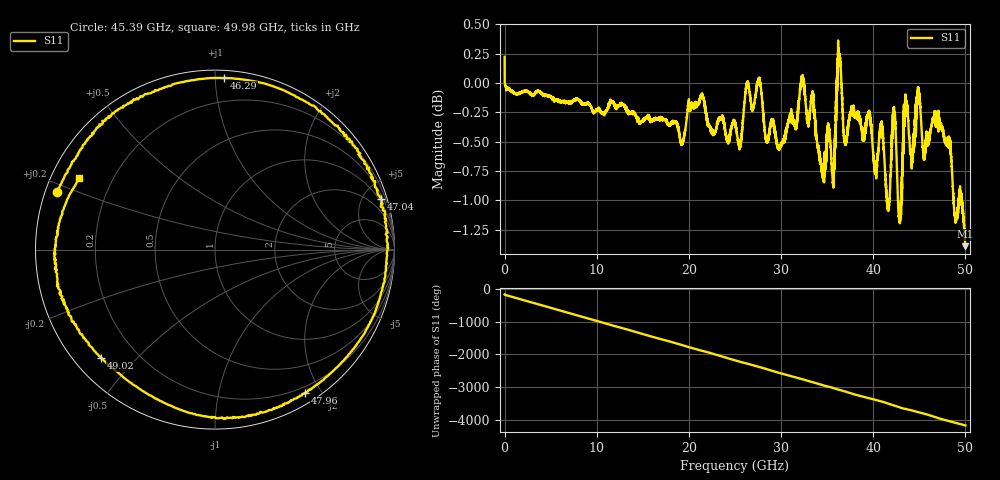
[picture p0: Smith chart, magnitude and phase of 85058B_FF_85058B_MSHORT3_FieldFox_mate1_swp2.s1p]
!Created with skrf (http://scikit-rf.org).
# Hz S RI R 50.0
!freq ReS11 ImS11
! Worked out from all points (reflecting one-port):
!   10001 points, 300 kHz to 50 GHz, reference 50 ohm
!   lowest |S11| = -1.4 dB at 50 GHz (marker M1), VSWR 12.52, Z = 4.26 + j12.8 ohm
!   phase of S11 starts at -175 deg and turns -3995 deg over the sweep
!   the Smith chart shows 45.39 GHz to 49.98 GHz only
!   S11 on the Smith chart (normalised r, x): 45.39 GHz: 0.03, +0.18; 46.29 GHz: 0.05, +1.05; 47.04 GHz: 0.75, +6.67; 47.96 GHz: 0.12, -1.80; 49.02 GHz: 0.08, -0.40; 49.98 GHz: 0.08, +0.25
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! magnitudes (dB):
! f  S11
! 300 kHz  0.2
! 6.25 GHz  -0.2
! 12.5 GHz  -0.2
! 18.75 GHz  -0.4
! 25 GHz  -0.3
! 27.57 GHz  0.0
! 28.46 GHz  -0.5
! 31.25 GHz  -0.3
! 32.33 GHz  0.0
! 35.63 GHz  -0.9
! 36.29 GHz  0.2
! 36.94 GHz  -0.5
! 37.5 GHz  -0.3
! 40.89 GHz  -0.4
! 41.6 GHz  -1.1
! 42.26 GHz  -0.2
! 42.88 GHz  -1.2
! 43.75 GHz  -0.3
! 44.23 GHz  -0.6
! 44.93 GHz  -0.1
! 45.39 GHz  -0.6
! 46.29 GHz  -0.4
! 47.04 GHz  -0.3
! 47.96 GHz  -0.5
! 49.02 GHz  -1.2
! 49.98 GHz  -1.4
! 50 GHz  -1.4
! 50 GHz  -1.4
